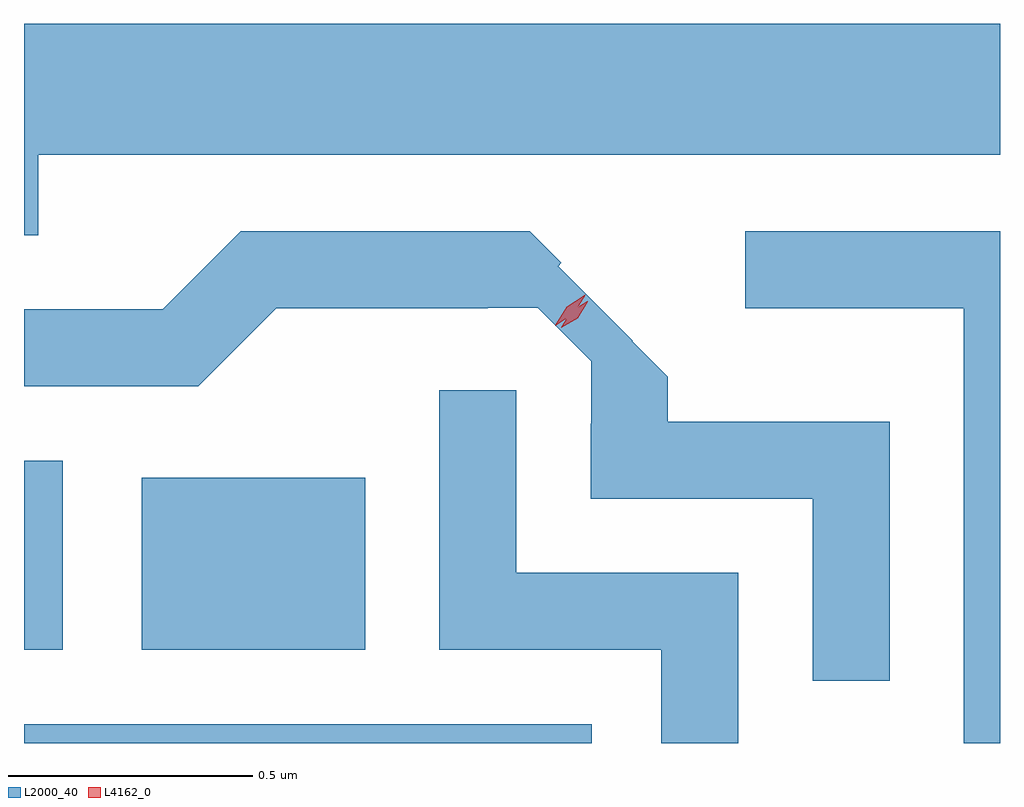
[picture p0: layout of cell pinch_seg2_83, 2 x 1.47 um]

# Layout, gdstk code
import gdstk
lib = gdstk.Library(unit=1e-6, precision=1e-09)
def R(c, l, rs):  # rectangles x0, y0, x1, y1
    for r in rs: c.add(gdstk.rectangle(r[:2], r[2:], *l))
def P(c, l, *ps):  # polygons
    for p in ps: c.add(gdstk.Polygon(p, *l))
L2000_40 = (2000, 40)
L4162_0 = (4162, 0)

pinch_seg2_83 = lib.new_cell('pinch_seg2_83')
R(pinch_seg2_83, L2000_40, [(1246.355,993.83,1247.518,993.869), (1246.355,994.021,1246.434,994.409), (1246.596,994.021,1247.054,994.374)])
P(pinch_seg2_83, L2000_40, [(1246.384,995.036),(1248.355,995.036),(1248.355,995.304),(1246.355,995.304),(1246.355,994.871),(1246.384,994.871)],
  [(1248.129,994.489),(1247.674,994.489),(1247.674,994.581),(1247.601,994.654),(1247.602,994.655),(1247.45,994.807),(1247.456,994.814),(1247.391,994.879),(1246.799,994.879),(1246.639,994.719),(1246.355,994.719),(1246.355,994.561),(1246.712,994.561),(1246.872,994.721),(1247.305,994.721),(1247.305,994.722),(1247.408,994.722),(1247.517,994.613),(1247.517,994.485),(1247.516,994.485),(1247.516,994.331),(1247.971,994.331),(1247.971,993.958),(1248.129,993.958)],
  [(1248.355,994.879),(1247.833,994.879),(1247.833,994.721),(1248.281,994.721),(1248.281,993.83),(1248.355,993.83)],
  [(1247.819,994.179),(1247.364,994.179),(1247.364,994.553),(1247.206,994.553),(1247.206,994.021),(1247.661,994.021),(1247.661,993.83),(1247.819,993.83)])
P(pinch_seg2_83, L4162_0, [(1247.456,994.681),(1247.456,994.682),(1247.476,994.715),(1247.509,994.736),(1247.51,994.736),(1247.51,994.735),(1247.49,994.701),(1247.456,994.681)],
  [(1247.444,994.685),(1247.444,994.686),(1247.467,994.724),(1247.505,994.749),(1247.505,994.749),(1247.505,994.748),(1247.482,994.71),(1247.444,994.685)])

lib.write_gds('pinch_seg2_83.gds')
